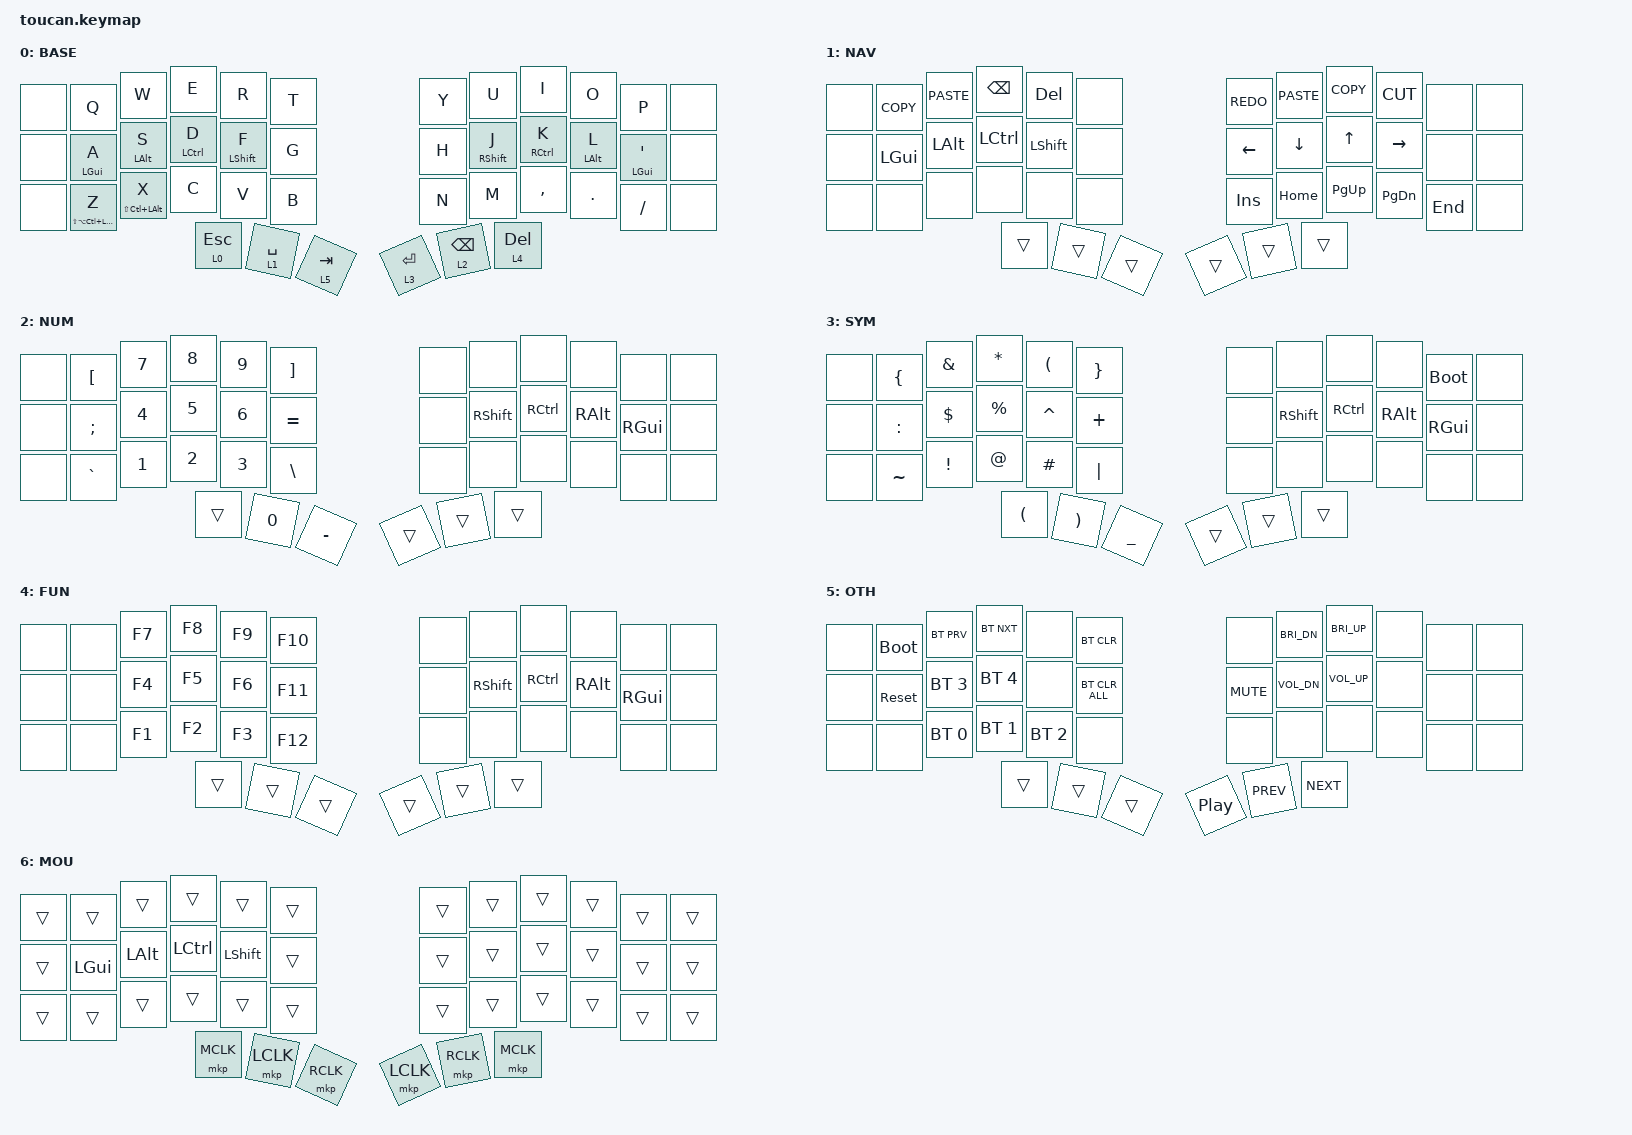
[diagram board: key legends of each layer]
#include <behaviors.dtsi>
#include <dt-bindings/zmk/keys.h>
#include <dt-bindings/zmk/bt.h>
#include <dt-bindings/zmk/outputs.h>
#include <dt-bindings/zmk/pointing.h>

// Key positions in each layer's 42 bindings (the outer pinky columns are unused).
#define KEYS_L 1 2 3 4 5 13 14 15 16 17 25 26 27 28 29
#define KEYS_R 6 7 8 9 10 18 19 20 21 22 30 31 32 33 34
#define THUMBS 36 37 38 39 40 41

&caps_word { continue-list = <UNDERSCORE BACKSPACE DELETE MINUS>; };

&lt {
    flavor = "balanced";
    quick-tap-ms = <150>;
    tapping-term-ms = <200>;
};

/ {
    behaviors {
        // "Timeless" home row mods (https://github.com/urob/zmk-config#timeless-homerow-mods):
        // a mod only resolves as hold when a key on the opposite hand or a thumb is tapped while it is held.
        hml: hml {
            compatible = "zmk,behavior-hold-tap";
            label = "HML";
            bindings = <&kp>, <&kp>;

            #binding-cells = <2>;
            quick-tap-ms = <175>;
            flavor = "balanced";
            tapping-term-ms = <280>;
            require-prior-idle-ms = <125>;
            hold-trigger-on-release;
            hold-trigger-key-positions = <KEYS_R THUMBS>;
        };

        hmr: hmr {
            compatible = "zmk,behavior-hold-tap";
            label = "HMR";
            bindings = <&kp>, <&kp>;

            #binding-cells = <2>;
            quick-tap-ms = <175>;
            flavor = "balanced";
            tapping-term-ms = <280>;
            require-prior-idle-ms = <125>;
            hold-trigger-on-release;
            hold-trigger-key-positions = <KEYS_L THUMBS>;
        };

        // Shift variants with a shorter tapping term so same-hand combos like Shift+V register Shift sooner.
        // A fast same-hand roll (e.g. F then V) may produce a shifted key; raise tapping-term-ms if so.
        hmls: hmls {
            compatible = "zmk,behavior-hold-tap";
            label = "HMLS";
            bindings = <&kp>, <&kp>;

            #binding-cells = <2>;
            quick-tap-ms = <175>;
            flavor = "balanced";
            tapping-term-ms = <180>;
            require-prior-idle-ms = <125>;
            hold-trigger-on-release;
            hold-trigger-key-positions = <KEYS_R THUMBS>;
        };

        hmrs: hmrs {
            compatible = "zmk,behavior-hold-tap";
            label = "HMRS";
            bindings = <&kp>, <&kp>;

            #binding-cells = <2>;
            quick-tap-ms = <175>;
            flavor = "balanced";
            tapping-term-ms = <180>;
            require-prior-idle-ms = <125>;
            hold-trigger-on-release;
            hold-trigger-key-positions = <KEYS_L THUMBS>;
        };
    };

    combos {
        compatible = "zmk,combos";

        combo_caps {
            bindings = <&caps_word>;
            key-positions = <17 18>;
            timeout-ms = <50>;
            layers = <0>;
        };
    };

    keymap {
        compatible = "zmk,keymap";

        base {
            display-name = "BASE";
            bindings = <
                &none  &kp Q  &kp W  &kp E  &kp R  &kp T  &kp Y  &kp U  &kp I  &kp O  &kp P  &none
                &none  &hml LGUI A  &hml LALT S  &hml LCTRL D  &hmls LSHIFT F  &kp G  &kp H  &hmrs RSHIFT J  &hmr RCTRL K  &hmr LALT L  &hmr LGUI SQT  &none
                &none  &mt LS(LA(LC(LGUI))) Z  &mt LS(LC(LALT)) X  &kp C  &kp V  &kp B  &kp N  &kp M  &kp COMMA  &kp DOT  &kp SLASH  &none
                          &lt 0 ESC  &lt 1 SPACE  &lt 5 TAB   &lt 3 ENTER  &lt 2 BACKSPACE  &lt 4 DEL
            >;
        };

        nav {
            display-name = "NAV";
            bindings = <
                &none  &kp K_COPY  &kp K_PASTE  &kp BACKSPACE  &kp DEL  &none  &kp K_REDO  &kp K_PASTE  &kp K_COPY  &kp K_CUT  &none  &none
                &none  &kp LGUI  &kp LALT  &kp LCTRL  &kp LSHFT  &none  &kp LEFT  &kp DOWN  &kp UP  &kp RIGHT  &none  &none
                &none  &none  &none  &none  &none  &none  &kp INS  &kp HOME  &kp PG_UP  &kp PG_DN  &kp END  &none
                          &trans  &trans  &trans   &trans  &trans  &trans
            >;
        };

        num {
            display-name = "NUM";
            bindings = <
                &none  &kp LEFT_BRACKET  &kp N7  &kp N8  &kp N9  &kp RIGHT_BRACKET  &none  &none  &none  &none  &none  &none
                &none  &kp SEMI  &kp N4  &kp N5  &kp N6  &kp EQUAL  &none  &kp RSHFT  &kp RCTRL  &kp RALT  &kp RGUI  &none
                &none  &kp GRAVE  &kp N1  &kp N2  &kp N3  &kp BACKSLASH  &none  &none  &none  &none  &none  &none
                          &trans  &kp N0  &kp MINUS   &trans  &trans  &trans
            >;
        };

        sym {
            display-name = "SYM";
            bindings = <
                &none  &kp LEFT_BRACE  &kp AMPS  &kp ASTRK  &kp LPAR  &kp RIGHT_BRACE  &none  &none  &none  &none  &bootloader  &none
                &none  &kp COLON  &kp DLLR  &kp PRCNT  &kp CARET  &kp PLUS  &none  &kp RSHFT  &kp RCTRL  &kp RALT  &kp RGUI  &none
                &none  &kp TILDE  &kp EXCL  &kp AT  &kp HASH  &kp PIPE  &none  &none  &none  &none  &none  &none
                          &kp LEFT_PARENTHESIS  &kp RIGHT_PARENTHESIS  &kp UNDER   &trans  &trans  &trans
            >;
        };

        fun {
            display-name = "FUN";
            bindings = <
                &none  &none  &kp F7  &kp F8  &kp F9  &kp F10  &none  &none  &none  &none  &none  &none
                &none  &none  &kp F4  &kp F5  &kp F6  &kp F11  &none  &kp RSHFT  &kp RCTRL  &kp RALT  &kp RGUI  &none
                &none  &none  &kp F1  &kp F2  &kp F3  &kp F12  &none  &none  &none  &none  &none  &none
                          &trans  &trans  &trans   &trans  &trans  &trans
            >;
        };

        oth {
            display-name = "OTH";
            bindings = <
                &none  &bootloader  &bt BT_PRV  &bt BT_NXT  &none  &bt BT_CLR  &none  &kp C_BRI_DN  &kp C_BRI_UP  &none  &none  &none
                &none  &sys_reset  &bt BT_SEL 3  &bt BT_SEL 4  &none  &bt BT_CLR_ALL  &kp C_MUTE  &kp C_VOL_DN  &kp C_VOL_UP  &none  &none  &none
                &none  &none  &bt BT_SEL 0  &bt BT_SEL 1  &bt BT_SEL 2  &none  &none  &none  &none  &none  &none  &none
                          &trans  &trans  &trans   &kp C_PP  &kp C_PREV  &kp C_NEXT
            >;
        };

        mouse {
            display-name = "MOU";
            bindings = <
                &trans &trans &trans &trans &trans &trans           &trans &trans &trans &trans &trans &trans
                &trans &kp LGUI &kp LALT &kp LCTRL &kp LSHFT &trans           &trans &trans &trans &trans &trans &trans
                &trans &trans &trans &trans &trans &trans           &trans &trans &trans &trans &trans &trans
                            &mkp MCLK &mkp LCLK &mkp RCLK           &mkp LCLK &mkp RCLK &mkp MCLK
            >;
        };

        extra_2 {
                status = "reserved";
        };

        extra_3 {
                status = "reserved";
        };
    };
};
